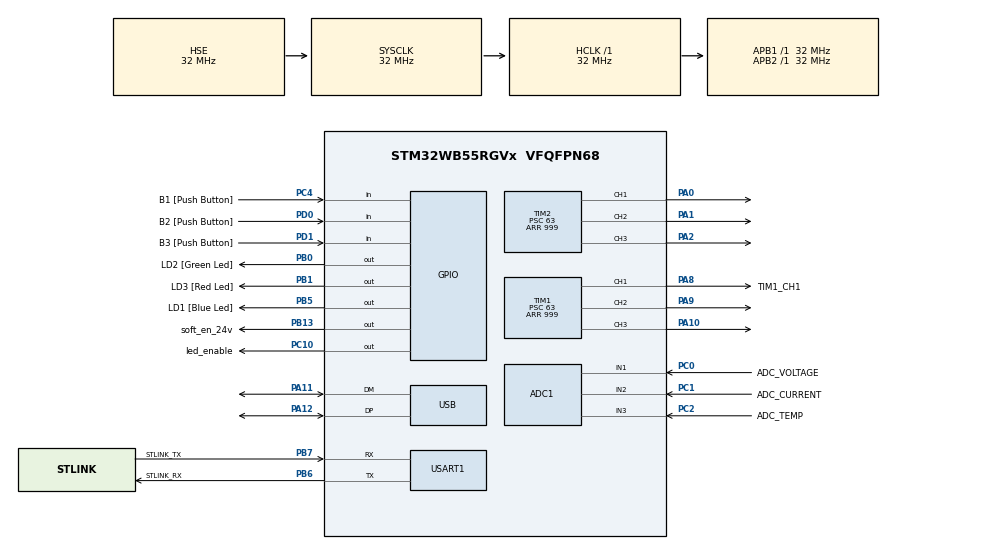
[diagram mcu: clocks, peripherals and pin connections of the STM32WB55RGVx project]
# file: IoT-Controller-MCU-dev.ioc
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ADC1.Channel-0\#ChannelRegularConversion=ADC_CHANNEL_1
ADC1.Channel-1\#ChannelRegularConversion=ADC_CHANNEL_2
ADC1.Channel-2\#ChannelRegularConversion=ADC_CHANNEL_3
ADC1.NbrOfConversion=3
ADC1.NbrOfConversionFlag=1
ADC1.OffsetNumber-0\#ChannelRegularConversion=ADC_OFFSET_NONE
ADC1.OffsetNumber-1\#ChannelRegularConversion=ADC_OFFSET_NONE
ADC1.OffsetNumber-2\#ChannelRegularConversion=ADC_OFFSET_NONE
ADC1.Rank-0\#ChannelRegularConversion=1
ADC1.Rank-1\#ChannelRegularConversion=2
ADC1.Rank-2\#ChannelRegularConversion=3
ADC1.SamplingTime-0\#ChannelRegularConversion=ADC_SAMPLETIME_640CYCLES_5
ADC1.SamplingTime-1\#ChannelRegularConversion=ADC_SAMPLETIME_640CYCLES_5
ADC1.SamplingTime-2\#ChannelRegularConversion=ADC_SAMPLETIME_640CYCLES_5
ADC1.master=1
Dma.ADC1.0.Direction=DMA_PERIPH_TO_MEMORY
Dma.ADC1.0.EventEnable=DISABLE
Dma.ADC1.0.Instance=DMA1_Channel1
Dma.ADC1.0.MemDataAlignment=DMA_MDATAALIGN_HALFWORD
Dma.ADC1.0.MemInc=DMA_MINC_ENABLE
Dma.ADC1.0.Mode=DMA_CIRCULAR
Dma.ADC1.0.PeriphDataAlignment=DMA_PDATAALIGN_HALFWORD
Dma.ADC1.0.PeriphInc=DMA_PINC_DISABLE
Dma.ADC1.0.Polarity=HAL_DMAMUX_REQ_GEN_RISING
Dma.ADC1.0.Priority=DMA_PRIORITY_LOW
Dma.ADC1.0.RequestNumber=1
Dma.ADC1.0.SignalID=NONE
Dma.ADC1.0.SyncEnable=DISABLE
Dma.ADC1.0.SyncPolarity=HAL_DMAMUX_SYNC_NO_EVENT
Dma.ADC1.0.SyncRequestNumber=1
Dma.ADC1.0.SyncSignalID=NONE
Dma.Request0=ADC1
Mcu.Family=STM32WB
Mcu.Name=STM32WB55RGVx
Mcu.Package=VFQFPN68
NVIC.ADC1_IRQn=true\:1\:0\:true\:false\:true\:true\:true\:true
NVIC.C2SEV_PWR_C2H_IRQn=true\:0\:0\:false\:false\:true\:true\:false\:true
NVIC.DMA1_Channel1_IRQn=true\:0\:0\:false\:false\:true\:false\:true\:true
NVIC.FLASH_IRQn=true\:0\:0\:false\:false\:true\:true\:true\:true
NVIC.FPU_IRQn=true\:0\:0\:false\:false\:true\:true\:false\:true
NVIC.HSEM_IRQn=true\:0\:0\:false\:false\:true\:false\:true\:true
NVIC.IPCC_C1_RX_IRQn=true\:0\:0\:false\:false\:true\:true\:true\:true
NVIC.IPCC_C1_TX_IRQn=true\:0\:0\:false\:false\:true\:true\:true\:true
NVIC.PVD_PVM_IRQn=true\:0\:0\:false\:false\:true\:true\:true\:true
NVIC.PWR_SOTF_BLEACT_802ACT_RFPHASE_IRQn=true\:0\:0\:false\:false\:true\:true\:false\:true
NVIC.PriorityGroup=NVIC_PRIORITYGROUP_4
NVIC.RCC_IRQn=true\:0\:0\:false\:false\:true\:true\:false\:true
NVIC.RTC_Alarm_IRQn=true\:0\:0\:false\:false\:true\:true\:true\:true
NVIC.RTC_WKUP_IRQn=true\:0\:0\:false\:false\:true\:true\:true\:true
NVIC.TIM1_BRK_IRQn=true\:0\:0\:false\:false\:true\:true\:true\:true
NVIC.TIM1_CC_IRQn=true\:0\:0\:false\:false\:true\:true\:true\:true
NVIC.TIM1_TRG_COM_TIM17_IRQn=true\:0\:0\:false\:false\:true\:true\:true\:true
NVIC.TIM1_UP_TIM16_IRQn=true\:0\:0\:false\:false\:true\:true\:true\:true
NVIC.TIM2_IRQn=true\:0\:0\:false\:false\:true\:true\:true\:true
NVIC.USART1_IRQn=true\:0\:0\:false\:false\:true\:true\:true\:true
NVIC.USB_HP_IRQn=true\:0\:0\:false\:false\:true\:true\:true\:true
NVIC.USB_LP_IRQn=true\:0\:0\:false\:false\:true\:true\:true\:true
OSC_IN.Mode=HSE-External-Oscillator
OSC_IN.Signal=RCC_OSC_IN
OSC_OUT.Mode=HSE-External-Oscillator
OSC_OUT.Signal=RCC_OSC_OUT
PA0.Signal=S_TIM2_CH1
PA1.Signal=S_TIM2_CH2
PA10.Signal=S_TIM1_CH3
PA11.Mode=Device
PA11.Signal=USB_DM
PA12.Mode=Device
PA12.Signal=USB_DP
PA13.GPIO_Label=JTMS
PA13.Mode=Serial_Wire
PA13.Signal=SYS_JTMS-SWDIO
PA14.GPIO_Label=JTCK
PA14.Mode=Serial_Wire
PA14.Signal=SYS_JTCK-SWCLK
PA2.Signal=S_TIM2_CH3
PA8.GPIO_Label=TIM1_CH1
PA8.Signal=S_TIM1_CH1
PA9.Signal=S_TIM1_CH2
PB0.GPIO_Label=LD2 [Green Led]
PB0.Signal=GPIO_Output
PB1.GPIO_Label=LD3 [Red Led]
PB1.Signal=GPIO_Output
PB13.GPIO_Label=soft_en_24v
PB13.GPIO_PuPd=GPIO_PULLDOWN
PB13.Signal=GPIO_Output
PB3.GPIO_Label=JTDO
PB3.Signal=SYS_JTDO-SWO
PB5.GPIO_Label=LD1 [Blue Led]
PB5.Signal=GPIO_Output
PB6.GPIO_Label=STLINK_RX
PB6.GPIO_PuPd=GPIO_PULLUP
PB6.Mode=Asynchronous
PB6.Signal=USART1_TX
PB7.GPIO_Label=STLINK_TX
PB7.GPIO_PuPd=GPIO_PULLUP
PB7.Mode=Asynchronous
PB7.Signal=USART1_RX
PC0.GPIO_Label=ADC_VOLTAGE
PC0.Signal=ADCx_IN1
PC1.GPIO_Label=ADC_CURRENT
PC1.Signal=ADCx_IN2
PC10.GPIO_Label=led_enable
PC10.GPIO_PuPd=GPIO_PULLDOWN
PC10.Signal=GPIO_Output
PC13.Signal=SYS_WKUP2
PC14-OSC32_IN.Mode=LSE-External-Oscillator
PC14-OSC32_IN.Signal=RCC_OSC32_IN
PC15-OSC32_OUT.Mode=LSE-External-Oscillator
PC15-OSC32_OUT.Signal=RCC_OSC32_OUT
PC2.GPIO_Label=ADC_TEMP
PC2.Signal=ADCx_IN3
PC4.GPIO_Label=B1 [Push Button]
PC4.GPIO_PuPd=GPIO_PULLUP
PC4.Signal=GPIO_Input
PD0.GPIO_Label=B2 [Push Button]
PD0.GPIO_PuPd=GPIO_PULLUP
PD0.Signal=GPIO_Input
PD1.GPIO_Label=B3 [Push Button]
PD1.GPIO_PuPd=GPIO_PULLUP
PD1.Signal=GPIO_Input
ProjectManager.HeapSize=0x200
ProjectManager.StackSize=0x400
ProjectManager.TargetToolchain=STM32CubeIDE
RCC.ADCFreq_Value=48000000
RCC.AHBFreq_Value=32000000
RCC.APB1Freq_Value=32000000
RCC.APB1TimFreq_Value=32000000
RCC.APB2Freq_Value=32000000
RCC.APB2TimFreq_Value=32000000
RCC.APB3Freq_Value=16000000
RCC.CortexFreq_Value=32000000
RCC.HCLKFreq_Value=32000000
RCC.HSE_VALUE=32000000
RCC.HSI48_VALUE=48000000
RCC.HSI_VALUE=16000000
RCC.LSE_Drive_Capability=RCC_LSEDRIVE_LOW
RCC.PLLN=32
RCC.PLLSAI1N=24
RCC.SMPSCLockSelectionVirtual=RCC_SMPSCLKSOURCE_HSI
RCC.SMPSCLockSelectionVirtualVirtual=RCC_SMPSCLKSOURCE_HSI
RCC.SMPSDivider=1
RCC.SYSCLKFreq_VALUE=32000000
RCC.SYSCLKSource=RCC_SYSCLKSOURCE_HSE
RCC.USBFreq_Value=48000000
RCC.VCOOutputFreq_Value=128000000
RF1.Mode=RF1_Activate
RF1.Signal=RF_RF1
RTC.Alarm-Alarm\ A=RTC_ALARM_A
RTC.AlarmMaskDateWeekDay-Alarm\ A=RTC_ALARMMASK_DATEWEEKDAY
RTC.AlarmMaskDateWeekDay_B-Alarm\ B=RTC_ALARMMASK_DATEWEEKDAY
RTC.AlarmMaskHours-Alarm\ A=RTC_ALARMMASK_HOURS
RTC.AlarmMaskHours_B-Alarm\ B=RTC_ALARMMASK_HOURS
RTC.AlarmMaskMinutes-Alarm\ A=RTC_ALARMMASK_MINUTES
RTC.AlarmMaskSeconds_B-Alarm\ B=RTC_ALARMMASK_SECONDS
RTC.Alarm_B-Alarm\ B=RTC_ALARM_B
RTC.Seconds=10
RTC.Seconds_A-Alarm\ A=5
SH.ADCx_IN1.0=ADC1_IN1,IN1-Single-Ended
SH.ADCx_IN2.0=ADC1_IN2,IN2-Single-Ended
SH.ADCx_IN3.0=ADC1_IN3,IN3-Single-Ended
SH.S_TIM1_CH1.0=TIM1_CH1,PWM Generation1 CH1
SH.S_TIM1_CH2.0=TIM1_CH2,PWM Generation2 CH2
SH.S_TIM1_CH3.0=TIM1_CH3,PWM Generation3 CH3
SH.S_TIM2_CH1.0=TIM2_CH1,PWM Generation1 CH1
SH.S_TIM2_CH2.0=TIM2_CH2,PWM Generation2 CH2
SH.S_TIM2_CH3.0=TIM2_CH3,PWM Generation3 CH3
STM32_WPAN.CB_ONOFF_SERVER_TOGGLE_ENDPOINT1=false
STM32_WPAN.CB_ONOFF_SERVER_TOGGLE_ENDPOINT2=false
STM32_WPAN.CB_ONOFF_SERVER_TOGGLE_ENDPOINT3=false
STM32_WPAN.CB_ONOFF_SERVER_TOGGLE_ENDPOINT4=false
STM32_WPAN.CB_ONOFF_SERVER_TOGGLE_ENDPOINT5=false
STM32_WPAN.CB_ONOFF_SERVER_TOGGLE_ENDPOINT6=true
STM32_WPAN.CB_ONOFF_SERVER_TOGGLE_ENDPOINT7=false
STM32_WPAN.ENDPOINT1_DEVICE_ID=ZCL_DEVICE_CONFIG_TOOL
STM32_WPAN.ENDPOINT1_ID_ZGB=1
STM32_WPAN.ENDPOINT2_DEVICE_ID=ZCL_DEVICE_DIMMABLE_LIGHT
STM32_WPAN.ENDPOINT2_ID_ZGB=2
STM32_WPAN.ENDPOINT3_DEVICE_ID=ZCL_DEVICE_DIMMABLE_LIGHT
STM32_WPAN.ENDPOINT4_DEVICE_ID=ZCL_DEVICE_DIMMABLE_LIGHT
STM32_WPAN.ENDPOINT4_ID_ZGB=4
STM32_WPAN.ENDPOINT5_DEVICE_ID=ZCL_DEVICE_DIMMABLE_LIGHT
STM32_WPAN.ENDPOINT5_ID_ZGB=5
STM32_WPAN.ENDPOINT6_DEVICE_ID=ZCL_DEVICE_DIMMABLE_LIGHT
STM32_WPAN.ENDPOINT6_ID_ZGB=6
STM32_WPAN.ENDPOINT7_DEVICE_ID=ZCL_DEVICE_DIMMABLE_LIGHT
STM32_WPAN.ENDPOINT7_ID_ZGB=7
STM32_WPAN.ZCL_ALARM_ENDPOINT1=NONE
STM32_WPAN.ZCL_BASIC_ENDPOINT1=SERVER
STM32_WPAN.ZCL_COLORCONTROL_ENDPOINT1=NONE
STM32_WPAN.ZCL_COMMISSIONING_ENDPOINT1=NONE
STM32_WPAN.ZCL_DEVICE_TEMPERATURE_CONFIGURATION_ENDPOINT1=NONE
STM32_WPAN.ZCL_FAN_CONTROL_ENDPOINT1=NONE
STM32_WPAN.ZCL_IDENTIFY_ENDPOINT1=SERVER
STM32_WPAN.ZCL_LEVELCONTROL_ENDPOINT1=NONE
STM32_WPAN.ZCL_LEVELCONTROL_ENDPOINT2=SERVER
STM32_WPAN.ZCL_LEVELCONTROL_ENDPOINT3=SERVER
STM32_WPAN.ZCL_LEVELCONTROL_ENDPOINT4=SERVER
STM32_WPAN.ZCL_LEVELCONTROL_ENDPOINT5=SERVER
STM32_WPAN.ZCL_LEVELCONTROL_ENDPOINT6=SERVER
STM32_WPAN.ZCL_LEVELCONTROL_ENDPOINT7=SERVER
STM32_WPAN.ZCL_ONOFF_ENDPOINT1=SERVER
STM32_WPAN.ZCL_SCENES_ENDPOINT1=NONE
STM32_WPAN.ZCL_TEMPERATURE_MEASUREMENT_ENDPOINT1=NONE
STM32_WPAN.ZCL_TIME_ENDPOINT1=NONE
STM32_WPAN.ZGB_CHANNEL=12
STM32_WPAN.ZGB_DEVICE_ROLE=ROUTER
STM32_WPAN.ZGB_NB_ENDPOINTS=7
STM32_WPAN.ZGB_NW_MODE=CENTRALIZED
TIM1.Channel-PWM\ Generation1\ CH1=TIM_CHANNEL_1
TIM1.Channel-PWM\ Generation2\ CH2=TIM_CHANNEL_2
TIM1.Channel-PWM\ Generation3\ CH3=TIM_CHANNEL_3
TIM1.OCIdleState_1=TIM_OCIDLESTATE_RESET
TIM1.OCPolarity_1=TIM_OCPOLARITY_HIGH
TIM1.OCPolarity_2=TIM_OCPOLARITY_HIGH
TIM1.OCPolarity_3=TIM_OCPOLARITY_HIGH
TIM1.Period=999
TIM1.Prescaler=63
TIM1.Pulse-PWM\ Generation1\ CH1=99
TIM1.Pulse-PWM\ Generation2\ CH2=199
TIM1.Pulse-PWM\ Generation3\ CH3=499
TIM2.Channel-PWM\ Generation1\ CH1=TIM_CHANNEL_1
TIM2.Channel-PWM\ Generation2\ CH2=TIM_CHANNEL_2
TIM2.Channel-PWM\ Generation3\ CH3=TIM_CHANNEL_3
TIM2.OCPolarity_1=TIM_OCPOLARITY_HIGH
TIM2.OCPolarity_2=TIM_OCPOLARITY_HIGH
TIM2.OCPolarity_3=TIM_OCPOLARITY_HIGH
TIM2.Period=999
TIM2.Prescaler=63
TIM2.Pulse-PWM\ Generation1\ CH1=749
TIM2.Pulse-PWM\ Generation2\ CH2=899
TIM2.Pulse-PWM\ Generation3\ CH3=499
USART1.VirtualMode-Asynchronous=VM_ASYNC
USART1.WordLength=WORDLENGTH_7B
VP_HSEM_VS_HSEM.Mode=HSEM_Activate
VP_IPCC_VS_IPCC.Mode=IPCC_Activate
VP_MEMORYMAP_VS_MEMORYMAP.Mode=CurAppReg
VP_RTC_VS_RTC_Activate.Mode=RTC_Enabled
VP_RTC_VS_RTC_Alarm_A_Intern.Mode=Alarm A
VP_RTC_VS_RTC_Alarm_B_Intern.Mode=Alarm B
VP_RTC_VS_RTC_Calendar.Mode=RTC_Calendar
VP_RTC_VS_RTC_WakeUp_intern.Mode=WakeUp
VP_SEQUENCER_VS_SEQUENCER.Mode=SEQUENCER_Enabled
VP_STM32_WPAN_VS_ZIGBEE.Mode=MOD_ZGB_ENDPOINT
VP_TIM1_VS_ClockSourceINT.Mode=Internal
VP_TIM2_VS_ClockSourceINT.Mode=Internal
VP_TINY_LPM_VS_TINY_LPM.Mode=TINY_LPM_Enabled
board=NUCLEO-WB55RG

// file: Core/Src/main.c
/* USER CODE BEGIN Header */
/**
  ******************************************************************************
  * @file           : main.c
  * @brief          : Main program body
  ******************************************************************************
  * @attention
  *
  * Copyright (c) 2023 STMicroelectronics.
  * All rights reserved.
  *
  * This software is licensed under terms that can be found in the LICENSE file
  * in the root directory of this software component.
  * If no LICENSE file comes with this software, it is provided AS-IS.
  *
  ******************************************************************************
  */
/* USER CODE END Header */
#include "main.h"
#include "adc.h"
#include "dma.h"
#include "ipcc.h"
#include "memorymap.h"
#include "rf.h"
#include "rtc.h"
#include "tim.h"
#include "usart.h"
#include "usb.h"
#include "gpio.h"

/* USER CODE BEGIN Includes */
#include "led_control.h"
#include "sensors.h"
#include "flash_storage.h"
#include "app_zigbee.h"

/* USER CODE END Includes */

/* USER CODE BEGIN PV */
SystemSettings_t SystemSettings;
uint16_t rawValues[3];

/* USER CODE END PV */

void SystemClock_Config(void);
void PeriphCommonClock_Config(void);

/* USER CODE BEGIN 0 */

// one wire debugging
int _write(int file, char *ptr, int len) {
	// this is used by uts and printf
	int i=0;
	for(i=0; i<len; i++)
		ITM_SendChar((*ptr++));
	return len;
}

//uint8_t dataToWrite[] = "testing writting/erasing flash";
//uint8_t dataToRead[100]; // Make sure this is large enough for the dataToWrite plus any null termination if used

/* USER CODE END 0 */

int main(void)
{

  /* MCU Configuration--------------------------------------------------------*/

  /* Reset of all peripherals, Initializes the Flash interface and the Systick. */
  HAL_Init();
  /* Config code for STM32_WPAN (HSE Tuning must be done before system clock configuration) */
  MX_APPE_Config();

  /* Configure the system clock */
  SystemClock_Config();

/* Configure the peripherals common clocks */
  PeriphCommonClock_Config();

  /* IPCC initialisation */
  MX_IPCC_Init();

  /* Initialize all configured peripherals */
  MX_GPIO_Init();
  MX_DMA_Init();
  MX_USART1_UART_Init();
  MX_USB_PCD_Init();
  MX_TIM1_Init();
  MX_TIM2_Init();
  MX_ADC1_Init();
  MX_RTC_Init();
  MX_RF_Init();
  /* USER CODE BEGIN 2 */
  HAL_ADCEx_Calibration_Start(&hadc1, ADC_SINGLE_ENDED);
  HAL_TIM_PWM_Init(&htim1);
  HAL_TIM_PWM_Init(&htim1);
  Sensors_Init(&hadc1);

  HAL_Delay(100);
  LoadSettingsFromFlash();	// load all the system settings from the flash memory
  HAL_Delay(100);

  start_led_control(&SystemSettings); // Pass the address of the settings struct to start_led_control
  HAL_Delay(20);
//store_flash_memory(FLASH_ADDRESS_STRING, (uint8_t *)char_random, sizeof(char_random));
// Write data to flash
//  if(Flash_Write(FLASH_USER_START_ADDR, dataToWrite, sizeof(dataToWrite)) != HAL_OK) {
//   //  Handle error
//  }
//

//  ReadSettingsFromFlash(&SystemSettings);	// it reads the settings from the flash memory and saves in the specified place

  // TODO DEV generating sample settings
//  generateSampleData(&SystemSettings);	// generates sample system settings, used for debugging
//  WriteSettingsToFlash(&SystemSettings);	// writes settings to flash

  // Print sample data for verification
//  SystemSettings_t settings;
//  for (int channel = 0; channel < PWM_CHANNELS_MAX; ++channel) {
//      printf("Channel %d: ", channel);
//      for (int hour = 0; hour < 24; ++hour) {
//          printf("%d ", settings.pwmx_brightness[channel][hour]);
//      }
//      printf("\n");
//  }

  /* USER CODE END 2 */

  /* Init code for STM32_WPAN */
  MX_APPE_Init();

  /* Infinite loop */
  while (1)
  {
    MX_APPE_Process();

    /* USER CODE BEGIN 3 */
//    if ((HAL_GPIO_ReadPin(GPIOC, GPIO_PIN_4 )) == GPIO_PIN_RESET) {
////        start_led_control(&SystemSettings); // Pass the address of the settings struct to start_led_control
////        HAL_Delay(3000);
////        stop_led_control();
//    	  }
//    HAL_Delay(500);

    if ((HAL_GPIO_ReadPin(GPIOC, GPIO_PIN_4 )) == GPIO_PIN_RESET) {
    	HAL_GPIO_TogglePin(GPIOB, GPIO_PIN_5);
    	HAL_Delay(300);
    }
  }
  /* USER CODE END 3 */
}

void SystemClock_Config(void)
{
  RCC_OscInitTypeDef RCC_OscInitStruct = {0};
  RCC_ClkInitTypeDef RCC_ClkInitStruct = {0};

  /** Macro to configure the PLL multiplication factor
  */
  __HAL_RCC_PLL_PLLM_CONFIG(RCC_PLLM_DIV1);

  /** Macro to configure the PLL clock source
  */
  __HAL_RCC_PLL_PLLSOURCE_CONFIG(RCC_PLLSOURCE_MSI);

  /** Configure LSE Drive Capability
  */
  HAL_PWR_EnableBkUpAccess();
  __HAL_RCC_LSEDRIVE_CONFIG(RCC_LSEDRIVE_LOW);

  /** Configure the main internal regulator output voltage
  */
  __HAL_PWR_VOLTAGESCALING_CONFIG(PWR_REGULATOR_VOLTAGE_SCALE1);

  /** Initializes the RCC Oscillators according to the specified parameters
  * in the RCC_OscInitTypeDef structure.
  */
  RCC_OscInitStruct.OscillatorType = RCC_OSCILLATORTYPE_HSI|RCC_OSCILLATORTYPE_LSI1
                              |RCC_OSCILLATORTYPE_HSE|RCC_OSCILLATORTYPE_LSE
                              |RCC_OSCILLATORTYPE_MSI;
  RCC_OscInitStruct.HSEState = RCC_HSE_ON;
  RCC_OscInitStruct.LSEState = RCC_LSE_ON;
  RCC_OscInitStruct.HSIState = RCC_HSI_ON;
  RCC_OscInitStruct.MSIState = RCC_MSI_ON;
  RCC_OscInitStruct.HSICalibrationValue = RCC_HSICALIBRATION_DEFAULT;
  RCC_OscInitStruct.MSICalibrationValue = RCC_MSICALIBRATION_DEFAULT;
  RCC_OscInitStruct.MSIClockRange = RCC_MSIRANGE_6;
  RCC_OscInitStruct.LSIState = RCC_LSI_ON;
  RCC_OscInitStruct.PLL.PLLState = RCC_PLL_NONE;
  if (HAL_RCC_OscConfig(&RCC_OscInitStruct) != HAL_OK)
  {
    Error_Handler();
  }

  /** Configure the SYSCLKSource, HCLK, PCLK1 and PCLK2 clocks dividers
  */
  RCC_ClkInitStruct.ClockType = RCC_CLOCKTYPE_HCLK4|RCC_CLOCKTYPE_HCLK2
                              |RCC_CLOCKTYPE_HCLK|RCC_CLOCKTYPE_SYSCLK
                              |RCC_CLOCKTYPE_PCLK1|RCC_CLOCKTYPE_PCLK2;
  RCC_ClkInitStruct.SYSCLKSource = RCC_SYSCLKSOURCE_HSE;
  RCC_ClkInitStruct.AHBCLKDivider = RCC_SYSCLK_DIV1;
  RCC_ClkInitStruct.APB1CLKDivider = RCC_HCLK_DIV1;
  RCC_ClkInitStruct.APB2CLKDivider = RCC_HCLK_DIV1;
  RCC_ClkInitStruct.AHBCLK2Divider = RCC_SYSCLK_DIV1;
  RCC_ClkInitStruct.AHBCLK4Divider = RCC_SYSCLK_DIV1;

  if (HAL_RCC_ClockConfig(&RCC_ClkInitStruct, FLASH_LATENCY_1) != HAL_OK)
  {
    Error_Handler();
  }

  /** Enable MSI Auto calibration
  */
  HAL_RCCEx_EnableMSIPLLMode();
}

void PeriphCommonClock_Config(void)
{
  RCC_PeriphCLKInitTypeDef PeriphClkInitStruct = {0};

  /** Initializes the peripherals clock
  */
  PeriphClkInitStruct.PeriphClockSelection = RCC_PERIPHCLK_SMPS|RCC_PERIPHCLK_RFWAKEUP
                              |RCC_PERIPHCLK_USB|RCC_PERIPHCLK_ADC;
  PeriphClkInitStruct.PLLSAI1.PLLN = 24;
  PeriphClkInitStruct.PLLSAI1.PLLP = RCC_PLLP_DIV2;
  PeriphClkInitStruct.PLLSAI1.PLLQ = RCC_PLLQ_DIV2;
  PeriphClkInitStruct.PLLSAI1.PLLR = RCC_PLLR_DIV2;
  PeriphClkInitStruct.PLLSAI1.PLLSAI1ClockOut = RCC_PLLSAI1_USBCLK|RCC_PLLSAI1_ADCCLK;
  PeriphClkInitStruct.UsbClockSelection = RCC_USBCLKSOURCE_PLLSAI1;
  PeriphClkInitStruct.AdcClockSelection = RCC_ADCCLKSOURCE_PLLSAI1;
  PeriphClkInitStruct.RFWakeUpClockSelection = RCC_RFWKPCLKSOURCE_HSE_DIV1024;
  PeriphClkInitStruct.SmpsClockSelection = RCC_SMPSCLKSOURCE_HSI;
  PeriphClkInitStruct.SmpsDivSelection = RCC_SMPSCLKDIV_RANGE0;

  if (HAL_RCCEx_PeriphCLKConfig(&PeriphClkInitStruct) != HAL_OK)
  {
    Error_Handler();
  }
}

/* USER CODE BEGIN 4 */
void HAL_RTC_AlarmAEventCallback(RTC_HandleTypeDef *hrtc) {
	if (__HAL_RTC_ALARM_GET_FLAG(hrtc, RTC_FLAG_ALRAF)) {
		RTC_AlarmTypeDef sAlarm;
		HAL_RTC_GetAlarm(hrtc,&sAlarm,RTC_ALARM_A,FORMAT_BIN);
		sAlarm.AlarmTime.Seconds = (sAlarm.AlarmTime.Seconds + 10) % 60;
		while(HAL_RTC_SetAlarm_IT(hrtc, &sAlarm, FORMAT_BIN)!=HAL_OK){}

		  Sensors_Measure();	// ADC DMA start; voltage, current, temp
	}
	else if (__HAL_RTC_ALARM_GET_FLAG(hrtc, RTC_FLAG_ALRBF)) {
        // Alarm B triggered the callback
        update_led_control();
	}

}

void HAL_ADC_ConvCpltCallback(ADC_HandleTypeDef *hadc) {
	if(hadc == &hadc1) {
		float voltage = Sensors_GetVoltage(rawValues[0]);
		float current = Sensors_GetCurrent(rawValues[1]);
		float temerature = Sensors_GetTemperature(rawValues[2]);
		float power = Sensors_CalculatePower(voltage, current);
		printf("Voltage: %f V, Current: %f A, Temperature: %f C, Power: %f W\n", voltage, current, temerature, power);
	}
}

/* USER CODE END 4 */

void Error_Handler(void)
{
  __disable_irq();
  while (1)
  {
  }
}
